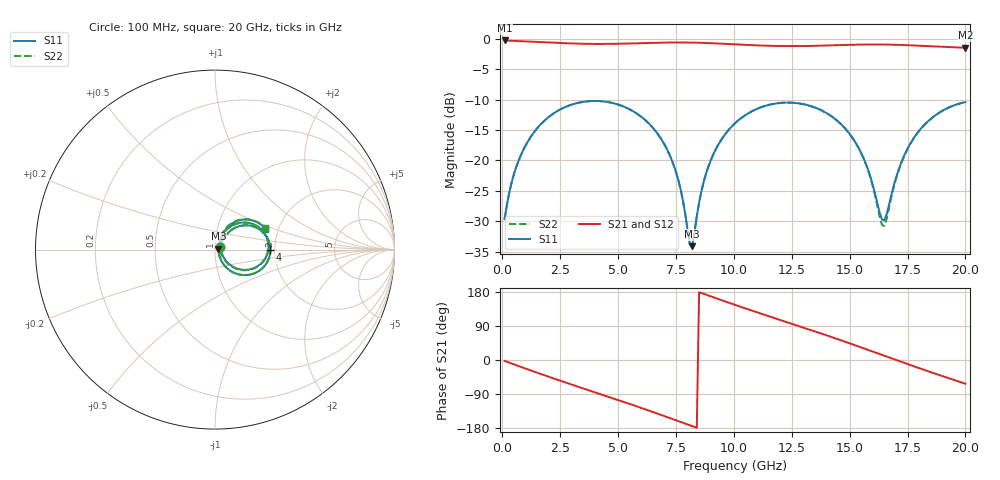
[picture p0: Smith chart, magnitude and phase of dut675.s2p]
! Touchstone file exported from HFSS 2026.1.0
!  File:  C:/ffzhzh/LocalFiles/Ansys_Project_Files/temp_train_TSV_RDL_675_1783132915_50312.aedt
!  Generated:  10:52:45 AM Jul  4, 2026
!  Design:  TSV_RDL
!  Project:  temp_train_TSV_RDL_675_1783132915_50312
! Variables:
!  h_bsmrdl = 4.92um
!  h_ox = 20um
!  h_rdl = 5um
!  h_sub = 65.02um
!  h_tmrdl = 3.41um
!  h_tsv = 65.02um
!  h_via = 3um
!  l_bsmrdl = 894.57um
!  l_sub = 7183.47um
!  l_tmrdl = 993.11um
!  m_sub = 200um
!  pitch = 35.2um
!  r_tsv = 13.79um
!  s_tmrdl = 10um
!  w_bsmrdl = 19.9um
!  w_sub = 500um
!  w_tmrdl = 22.54um
!  x_tsv_center1 = 1004.38um
!  x_tsv_center2 = 1918.85um
!  x_tsv_center3 = 2934.5um
!  x_tsv_center4 = 3848.97um
!  x_tsv_center5 = 4864.62um
!  x_tsv_center6 = 5779.09um
# GHz S MA R 50.000000
! Terminal data exported
! Port[1] = TM_RDL1_1_T1
! Port[2] = TM_RDL5_1_T1
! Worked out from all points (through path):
!   200 points, 100 MHz to 20 GHz, reference 50 ohm
!   highest |S21| = -0.25 dB at 100 MHz (marker M1); lowest = -1.5 dB at 20 GHz (marker M2)
!   group delay of S21, straight-line fit = 58.5 ps
!   lowest |S11| = -34.1 dB at 8.2 GHz (marker M3), VSWR 1.04, Z = 51.9 + j0.557 ohm
!   |S11| at or under -10 dB: start of sweep to end of sweep
!   |S22| runs from -34.0 to -10.2 dB; largest |S21 - S12| = 1.7e-14
!   S11 on the Smith chart (normalised r, x): 100 MHz: 1.06, +0.03; 4 GHz: 1.89, -0.01; 20 GHz: 1.70, +0.44
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0.1  0.03286 26.6  0.9711 -2.4  0.9711 -2.4  0.03286 26.6
! Gamma 0 0 0 0
! Port Impedance 50 0 50 0
0.5  0.07677 51.5  0.9626 -11.5  0.9626 -11.5  0.07677 51.5
1.2  0.1532 48.9  0.9507 -26.9  0.9507 -26.9  0.1532 48.9
3.5  0.3034 9.0  0.9119 -75.1  0.9119 -75.1  0.3034 8.9
4  0.3086 -0.4  0.9092 -85.2  0.9092 -85.2  0.3086 -0.4
5.4  0.2691 -26.8  0.916 -113.8  0.916 -113.8  0.2691 -26.9
6.8  0.1563 -52.4  0.9313 -143.6  0.9313 -143.6  0.1563 -52.4
7.5  0.08035 -60.4  0.9348 -159.0  0.9348 -159.0  0.08038 -60.3
8.1  0.02025 -16.9  0.9333 -172.2  0.9333 -172.2  0.0205 -16.6
8.2  0.01967 15.8  0.9325 -174.4  0.9325 -174.4  0.01996 15.6
8.6  0.05574 62.6  0.9284 176.7  0.9284 176.7  0.05589 62.3
8.9  0.08889 64.0  0.9242 170.2  0.9242 170.2  0.08901 63.6
10.1  0.2061 46.5  0.9013 144.5  0.9013 144.5  0.2062 46.3
11.8  0.2938 15.6  0.875 109.7  0.875 109.7  0.2939 15.3
13.4  0.2768 -13.3  0.8763 77.6  0.8763 77.6  0.2768 -13.8
15.3  0.1357 -43.8  0.8969 37.6  0.8969 37.6  0.1353 -45.1
15.9  0.07299 -43.9  0.9001 24.5  0.9001 24.5  0.0719 -46.3
16.4  0.03256 -2.3  0.8996 13.4  0.8996 13.4  0.02939 -4.2
16.7  0.04296 45.8  0.8977 6.8  0.8977 6.8  0.04036 48.7
17.2  0.09289 63.2  0.8923 -4.2  0.8923 -4.2  0.09156 65.1
17.9  0.1656 57.9  0.8806 -19.3  0.8806 -19.3  0.1648 59.0
20  0.3021 22.9  0.8458 -62.7  0.8458 -62.7  0.3018 23.4
